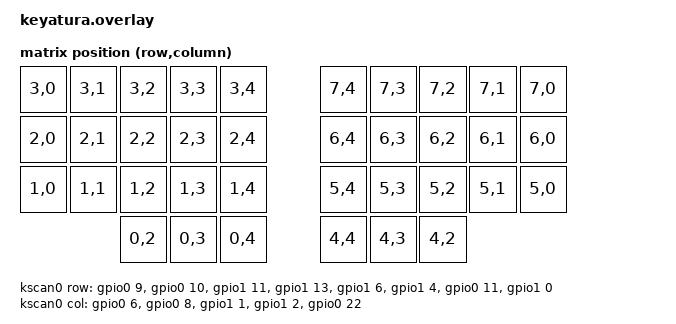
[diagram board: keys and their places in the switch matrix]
#include <dt-bindings/zmk/matrix_transform.h>
#include "keyatura-layouts.dtsi"
#include "leds.dtsi"

/ {
    chosen {
        zmk,kscan = &kscan0;
        zmk,backlight = &backlight;
        zmk,battery = &vbatt;
        // zmk,matrix_transform = &default_transform;
        zmk,physical-layout = &physical_layout0;
    }; 

    default_transform: keymap_transform0 {
        compatible = "zmk,matrix-transform";
        columns = <5>;
        rows = <8>;

        map = <
            RC(3,0) RC(3,1) RC(3,2) RC(3,3) RC(3,4) RC(7,4) RC(7,3) RC(7,2) RC(7,1) RC(7,0)
            RC(2,0) RC(2,1) RC(2,2) RC(2,3) RC(2,4) RC(6,4) RC(6,3) RC(6,2) RC(6,1) RC(6,0)
            RC(1,0) RC(1,1) RC(1,2) RC(1,3) RC(1,4) RC(5,4) RC(5,3) RC(5,2) RC(5,1) RC(5,0)
                            RC(0,2) RC(0,3) RC(0,4) RC(4,4) RC(4,3) RC(4,2)
        >;
    };

    kscan0: kscan {
        compatible = "zmk,kscan-gpio-matrix";
        diode-direction = "row2col";
        wakeup-source;
		row-gpios
			= <&gpio0 9  GPIO_ACTIVE_HIGH>
			, <&gpio0 10 GPIO_ACTIVE_HIGH>
			, <&gpio1 11 GPIO_ACTIVE_HIGH>
			, <&gpio1 13 GPIO_ACTIVE_HIGH>
			, <&gpio1 6  GPIO_ACTIVE_HIGH>
			, <&gpio1 4  GPIO_ACTIVE_HIGH>
			, <&gpio0 11 GPIO_ACTIVE_HIGH>
			, <&gpio1 0  GPIO_ACTIVE_HIGH>
            ;

        col-gpios
            = <&gpio0 6  (GPIO_ACTIVE_HIGH | GPIO_PULL_DOWN)>
            , <&gpio0 8  (GPIO_ACTIVE_HIGH | GPIO_PULL_DOWN)>
            , <&gpio1 1 (GPIO_ACTIVE_HIGH | GPIO_PULL_DOWN)>
            , <&gpio1 2 (GPIO_ACTIVE_HIGH | GPIO_PULL_DOWN)>
            , <&gpio0 22 (GPIO_ACTIVE_HIGH | GPIO_PULL_DOWN)>
            ;
    };
    
    tps43_input: tps43_input {
        compatible = "zmk,input-listener";
        device = <&tps43>;
    };
};


&pinctrl {
    i2c0_default: i2c0_default {
        group1 {
            psels = <NRF_PSEL(TWIM_SDA, 0, 17)>,
                <NRF_PSEL(TWIM_SCL, 0, 20)>;
            bias-pull-up;
        };
    };

    i2c0_sleep: i2c0_sleep {
        group1 {
            psels = <NRF_PSEL(TWIM_SDA, 0, 17)>,
                <NRF_PSEL(TWIM_SCL, 0, 20)>;
            low-power-enable;
        };
    };
};


&i2c0 {
    status = "okay";
    tps43: iqs5xx@74 {
        status = "okay";
        compatible = "azoteq,iqs5xx";
        reg = <0x74>;

        one-finger-tap;
        press-and-hold;
        press-and-hold-time = <250>;
        two-finger-tap;

        scroll;
        natural-scroll-y;
        natural-scroll-x;

        bottom-beta = <5>;
        stationary-threshold = <5>;

        switch-xy;

        reset-gpios = <&gpio1 0 GPIO_ACTIVE_LOW>; /* P1.10 */
        rdy-gpios = <&gpio1 11 GPIO_ACTIVE_HIGH>; /* P1.11 */
    };
};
